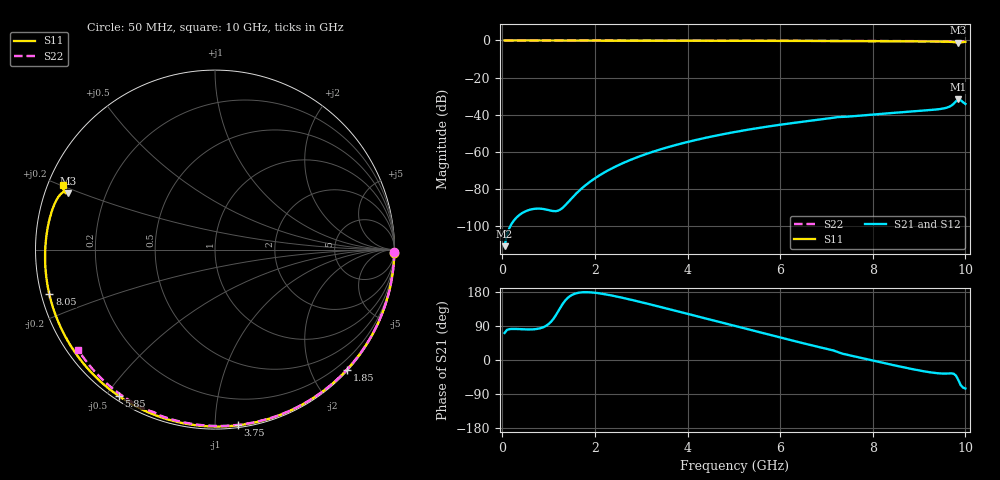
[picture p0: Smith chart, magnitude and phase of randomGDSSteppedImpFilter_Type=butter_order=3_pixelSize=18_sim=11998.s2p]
! freq	dB(S11)	phase(S11)	dB(S12)	phase(S12)
!  dB(S21)	phase(S21)	dB(S22)	phase(S22)
!S-par simulation data
#  GHz  S  DB  R 50
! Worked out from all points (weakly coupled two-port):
!   200 points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, 50 MHz to 10 GHz, reference 50 ohm
!   highest |S21| = -31.73 dB at 9.85 GHz (marker M1); lowest = -110.6 dB at 50 MHz (marker M2)
!   lowest |S11| = -1.2 dB at 9.85 GHz (marker M3), VSWR 15.00, Z = 3.45 + j9.23 ohm
!   |S11| at or under -10 dB: nowhere
!   |S22| runs from -0.5 to 0.0 dB; largest |S21 - S12| = 0
!   S11 on the Smith chart (normalised r, x): 50 MHz: open; 1.85 GHz: 0.02, -2.58; 3.75 GHz: 0.01, -1.14; 5.85 GHz: 0.02, -0.54; 8.05 GHz: 0.02, -0.13; 10 GHz: 0.04, +0.20
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0.05  -0.01 -1.1  -110.58 71.3  -110.58 71.3  -0.01 -0.8
0.8  -0.02 -18.5  -90.40 83.2  -90.40 83.2  -0.02 -13.3
1.65  -0.05 -37.9  -81.01 177.5  -81.01 177.5  -0.03 -27.2
1.7  -0.05 -39.0  -79.87 178.4  -79.87 178.4  -0.04 -28.0
1.75  -0.05 -40.1  -78.79 178.8  -78.79 178.8  -0.04 -28.8
1.85  -0.05 -42.3  -76.78 178.9  -76.78 178.9  -0.04 -30.4
2.15  -0.06 -48.9  -71.74 174.9  -71.74 174.9  -0.05 -35.2
2.5  -0.07 -56.5  -67.13 166.7  -67.13 166.7  -0.05 -40.7
3.4  -0.10 -75.5  -58.66 140.4  -58.66 140.4  -0.07 -54.7
3.75  -0.11 -82.7  -56.17 129.6  -56.17 129.6  -0.08 -60.0
4.4  -0.14 -95.6  -52.28 109.2  -52.28 109.2  -0.10 -69.6
5.05  -0.17 -108.3  -49.08 88.9  -49.08 88.9  -0.12 -79.0
5.85  -0.21 -123.4  -45.85 64.0  -45.85 64.0  -0.15 -90.2
6.7  -0.27 -139.3  -43.05 38.2  -43.05 38.2  -0.20 -101.7
7.25  -0.31 -149.6  -41.17 20.8  -41.17 20.8  -0.24 -109.0
8.05  -0.39 -164.9  -39.73 -2.8  -39.73 -2.8  -0.29 -119.2
8.35  -0.42 -170.8  -39.13 -11.0  -39.13 -11.0  -0.32 -123.0
9  -0.51 176.0  -37.91 -27.5  -37.91 -27.5  -0.38 -131.2
9.55  -0.64 163.9  -36.44 -35.8  -36.44 -35.8  -0.44 -138.2
9.7  -0.78 160.2  -34.97 -35.3  -34.97 -35.3  -0.46 -140.0
9.85  -1.16 159.0  -31.73 -53.6  -31.73 -53.6  -0.46 -141.9
10  -0.73 156.8  -34.11 -75.2  -34.11 -75.2  -0.48 -143.9
